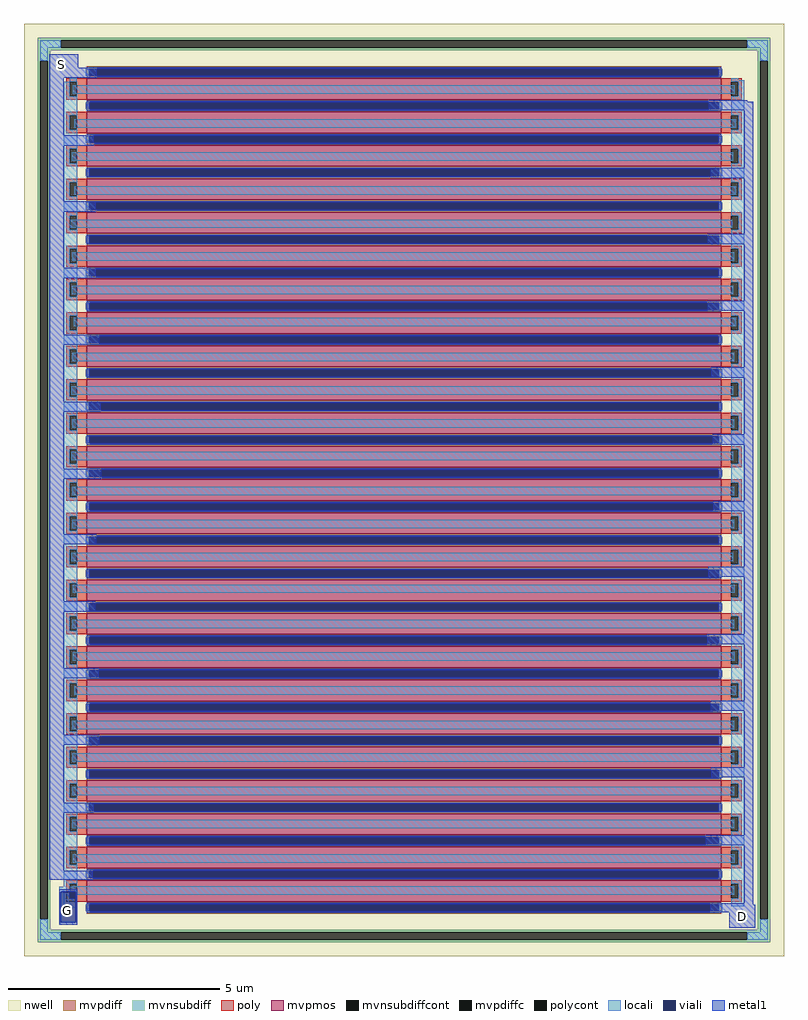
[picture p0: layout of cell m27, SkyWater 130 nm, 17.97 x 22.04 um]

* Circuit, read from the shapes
.subckt m27 D G S
XM1 S G D n1 sky130_fd_pr__pfet_g5v0d10v5 w=15 l=0.5 m=25
.ends

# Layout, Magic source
magic
tech sky130A
magscale 1 2
<< nwell >>
rect 41726 10246 41864 10344
rect 41726 6440 41794 10246
rect 44942 6212 45064 6322
<< locali >>
rect 41838 10158 44968 10198
rect 41844 9996 44974 10036
rect 41832 9840 44962 9880
rect 41844 9680 44974 9720
rect 41826 9522 44956 9562
rect 41836 9368 44966 9408
rect 41832 9209 44962 9249
rect 41842 9058 44972 9098
rect 41836 8892 44966 8932
rect 41830 8734 44960 8774
rect 41836 8578 44966 8618
rect 41830 8424 44960 8464
rect 41836 8258 44966 8298
rect 41836 8102 44966 8142
rect 41830 7946 44960 7986
rect 41838 7796 44968 7836
rect 41836 7630 44966 7670
rect 41838 7476 44968 7516
rect 41844 7314 44974 7354
rect 41836 7152 44966 7192
rect 41836 6998 44966 7038
rect 41836 6840 44966 6880
rect 41836 6684 44966 6724
rect 41838 6520 44968 6560
rect 41836 6406 44966 6410
rect 41774 6382 44966 6406
rect 41774 6240 41780 6382
rect 41852 6370 44966 6382
rect 41852 6240 41858 6370
rect 41774 6236 41858 6240
<< viali >>
rect 41780 6240 41852 6382
<< metal1 >>
rect 41726 10280 41864 10344
rect 41726 10232 41952 10280
rect 41726 9960 41794 10232
rect 44846 10120 45028 10126
rect 44846 10078 45056 10120
rect 41726 9912 41936 9960
rect 41726 9648 41794 9912
rect 45012 9806 45056 10078
rect 44854 9758 45056 9806
rect 41726 9600 41946 9648
rect 41726 9333 41794 9600
rect 45012 9494 45056 9758
rect 44840 9446 45056 9494
rect 41726 9285 41946 9333
rect 41726 9017 41794 9285
rect 45012 9179 45056 9446
rect 44840 9131 45056 9179
rect 41726 8969 41964 9017
rect 41726 8700 41794 8969
rect 45012 8863 45056 9131
rect 44858 8815 45056 8863
rect 41726 8652 41970 8700
rect 41726 8384 41794 8652
rect 45012 8546 45056 8815
rect 44864 8498 45056 8546
rect 41726 8336 41972 8384
rect 41726 8074 41794 8336
rect 45012 8230 45056 8498
rect 44866 8182 45056 8230
rect 41726 8026 41948 8074
rect 41726 7756 41794 8026
rect 45012 7920 45056 8182
rect 44842 7872 45056 7920
rect 41726 7708 41944 7756
rect 41726 7441 41794 7708
rect 45012 7602 45056 7872
rect 44838 7554 45056 7602
rect 41726 7393 41960 7441
rect 41726 7126 41794 7393
rect 45012 7287 45056 7554
rect 44854 7239 45056 7287
rect 41726 7078 41962 7126
rect 41726 6804 41794 7078
rect 45012 6972 45056 7239
rect 44856 6924 45056 6972
rect 41726 6756 41938 6804
rect 41726 6482 41794 6756
rect 45012 6650 45056 6924
rect 44832 6602 45056 6650
rect 41726 6440 41932 6482
rect 41774 6382 41858 6394
rect 41774 6240 41780 6382
rect 41852 6240 41858 6382
rect 45012 6328 45056 6602
rect 44852 6322 45056 6328
rect 44852 6286 45064 6322
rect 41774 6228 41858 6240
rect 44942 6212 45064 6286
use sky130_fd_pr__pfet_g5v0d10v5_UMEKA9  sky130_fd_pr__pfet_g5v0d10v5_UMEKA9_0
transform 0 1 43404 -1 0 8283
box -2204 -1797 2204 1797
<< labels >>
flabel metal1 41786 10296 41786 10296 0 FreeSans 800 0 0 0 S
flabel metal1 45004 6266 45004 6266 0 FreeSans 800 0 0 0 D
flabel viali 41812 6294 41812 6294 0 FreeSans 800 0 0 0 G
<< end >>

# cell sky130_fd_pr__pfet_g5v0d10v5_UMEKA9: kit device sky130_fd_pr__pfet_g5v0d10v5, w 15 l 0.5 m 1 nf 25 diffcov 100 polycov 100 guard 1 glc 1 grc 1 gtc 1 gbc 1 tbcov 100 rlcov 100 topc 1 botc 1 poverlap 0 doverlap 1 lmin 0.50 wmin 0.42 class mosfet compatible {sky130_fd_pr__pfet_01v8 sky130_fd_pr__pfet_01v8_lvt sky130_fd_pr__pfet_01v8_hvt sky130_fd_pr__pfet_g5v0d10v5} full_metal 1 conn_gates 0 viasrc 100 viadrn 100 viagate 100 viagb 0 viagr 0 viagl 0 viagt 0 doports 1
